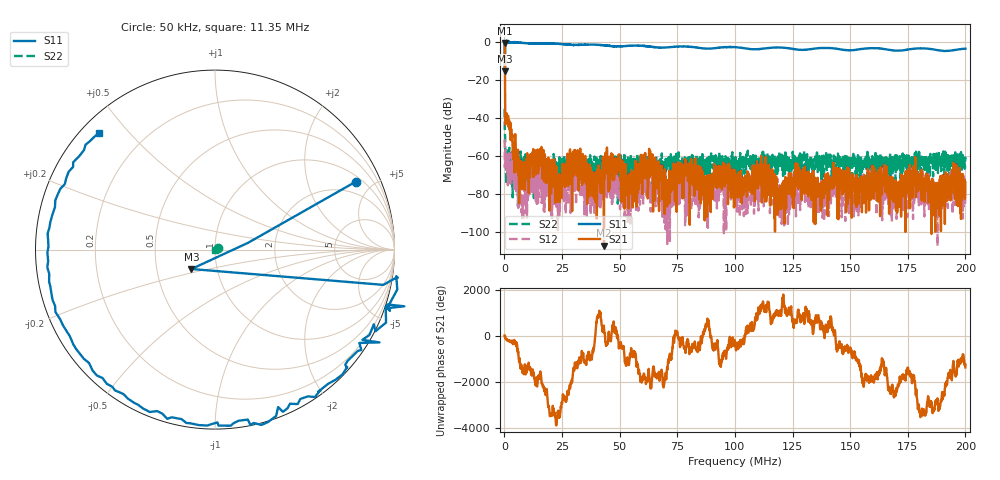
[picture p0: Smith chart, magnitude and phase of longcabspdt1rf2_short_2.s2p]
! 26-Feb-26 11:07:31 AM
! E:\VNA_MEASUREMENTS\LONGCAB_SPDT1_OPENSHORT\LONGCABSPDT1RF2_SHORT_2.S2P
! CHANNEL.1
! TR.MEASUREMENT
! CORRECTED.DATA
# GHZ S RI R 50.0
! FREQ.GHZ  S11RE  S11IM  S21RE  S21IM  S12RE  S12IM  S22RE  S22IM
!; PortSelection: Port_12
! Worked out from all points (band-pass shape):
!   2000 points, 50 kHz to 200 MHz, reference 50 ohm
!   highest |S21| = -0.54 dB at 50 kHz (marker M1); lowest = -107.2 dB at 43.16 MHz (marker M2)
!   |S21| within 3 dB of the highest: start of sweep to 157.2 kHz
!   lowest |S11| = -15.4 dB at 250 kHz (marker M3), VSWR 1.41, Z = 37.6 - j8.37 ohm
!   |S11| at or under -10 dB: 116.3 kHz to 286 kHz (169.7 kHz wide, 84.4 % of centre)
!   |S22| runs from -86.4 to -35.1 dB; largest |S21 - S12| = 0.94
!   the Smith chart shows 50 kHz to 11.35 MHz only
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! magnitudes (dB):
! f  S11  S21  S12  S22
! 50 kHz  -1.2  -0.5  -51.1  -35.1
! 250 kHz  -15.4  -19.2  -63.1  -49.3
! 1.35 MHz  0.3  -39.7  -63.5  -69.4
! 7.252 MHz  -0.3  -72.0  -84.1  -67.4
! 15.35 MHz  -0.7  -56.3  -66.5  -60.7
! 23.76 MHz  -1.0  -69.6  -79.8  -70.2
! 30.66 MHz  -1.5  -60.6  -69.5  -63.9
! 33.46 MHz  -1.5  -65.6  -64.2  -63.3
! 39.06 MHz  -1.4  -76.9  -79.2  -60.2
! 43.16 MHz  -1.7  -107.2  -76.3  -66.3
! 49.16 MHz  -2.2  -68.1  -80.3  -85.1
! 55.76 MHz  -1.9  -69.2  -82.3  -66.8
! 60.97 MHz  -2.1  -71.4  -79.2  -64.5
! 66.77 MHz  -2.8  -62.8  -84.3  -72.3
! 70.47 MHz  -2.8  -72.6  -99.5  -63.3
! 79.27 MHz  -2.4  -68.8  -73.5  -63.8
! 87.27 MHz  -3.4  -76.6  -80.6  -63.1
! 95.47 MHz  -2.6  -65.3  -82.2  -64.8
! 100.1 MHz  -2.7  -72.8  -70.7  -64.8
! 133.4 MHz  -3.6  -72.1  -81.2  -62.7
! 166.7 MHz  -4.1  -72.8  -75.3  -63.2
! 200 MHz  -3.5  -73.9  -85.1  -61.6
